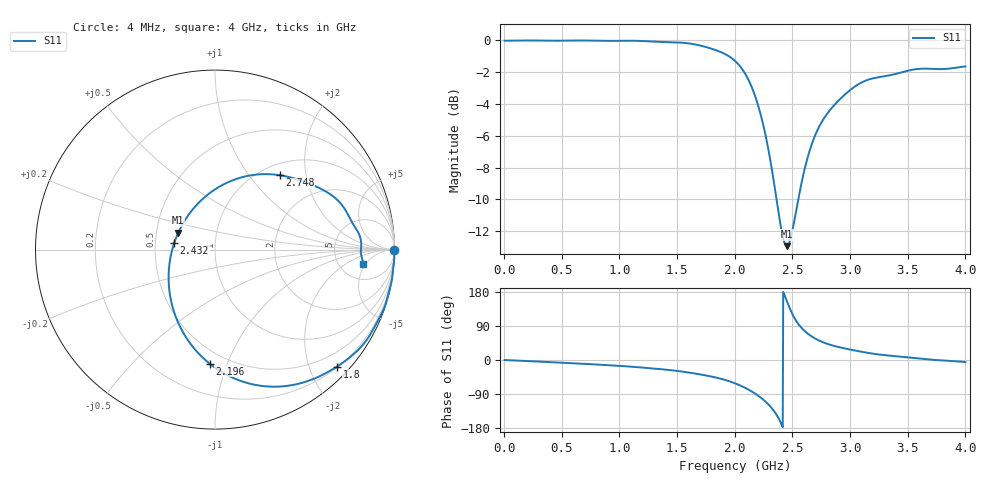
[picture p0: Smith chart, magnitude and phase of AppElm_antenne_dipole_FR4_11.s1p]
! TOUCHSTONE file generated by CST MICROWAVE STUDIO
! Date and time: Thu May 12 18:28:02 2022
! Project name: AppElm_antenne_dipole_FR4.cst
! Parameters = {L=38.8; e=0.035; f=2.45e+09; h=1.6; i=0.8; l1=4; lambda=122.449; ls=37.5; wl=1.7; ws=80}
! Header version: 2018
! Port assignment regex: !\s*Touchstone port\s*([0-9]+)\s*=\s*(CST MWS port|CST DS port)\s*([0-9]+|Zmin|Zmax)\s*\(\"(.*)\"\)(\s*mode\s*([0-9]+))?.*
! Touchstone port assignment:
! Touchstone port 1 = CST MWS port 1 ("")
# GHz S MA R 50
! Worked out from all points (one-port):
!   1000 points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, 4 MHz to 4 GHz, reference 50 ohm
!   lowest |S11| = -12.9 dB at 2.452 GHz (marker M1), VSWR 1.58, Z = 32.5 + j6.46 ohm
!   |S11| at or under -10 dB: 2.362 GHz to 2.551 GHz (188.3 MHz wide, 7.66 % of centre)
!   S11 on the Smith chart (normalised r, x): 4 MHz: open; 1.8 GHz: 0.21, -2.47; 2.196 GHz: 0.41, -0.87; 2.432 GHz: 0.63, +0.05; 2.748 GHz: 1.20, +1.43; 4 GHz: 8.47, -4.27
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0.004  0.9981 -0.1
0.504  0.9983 -7.0
1.004  0.9974 -15.5
1.232  0.9946 -20.8
1.504  0.9858 -29.0
1.652  0.9724 -35.5
1.8  0.9416 -43.8
1.908  0.9092 -51.9
2.004  0.8612 -61.7
2.108  0.7652 -76.3
2.152  0.7062 -84.0
2.196  0.6359 -92.7
2.264  0.5091 -109.0
2.32  0.3965 -126.7
2.376  0.2931 -151.8
2.432  0.2303 170.9
2.452  0.2254 155.3
2.504  0.2569 118.5
2.56  0.3295 91.6
2.616  0.4076 73.9
2.676  0.4808 60.5
2.748  0.5492 49.0
2.856  0.6222 37.6
3.004  0.6998 27.3
3.184  0.7577 17.3
3.504  0.8036 6.9
3.704  0.8142 0.8
4  0.8283 -5.5
